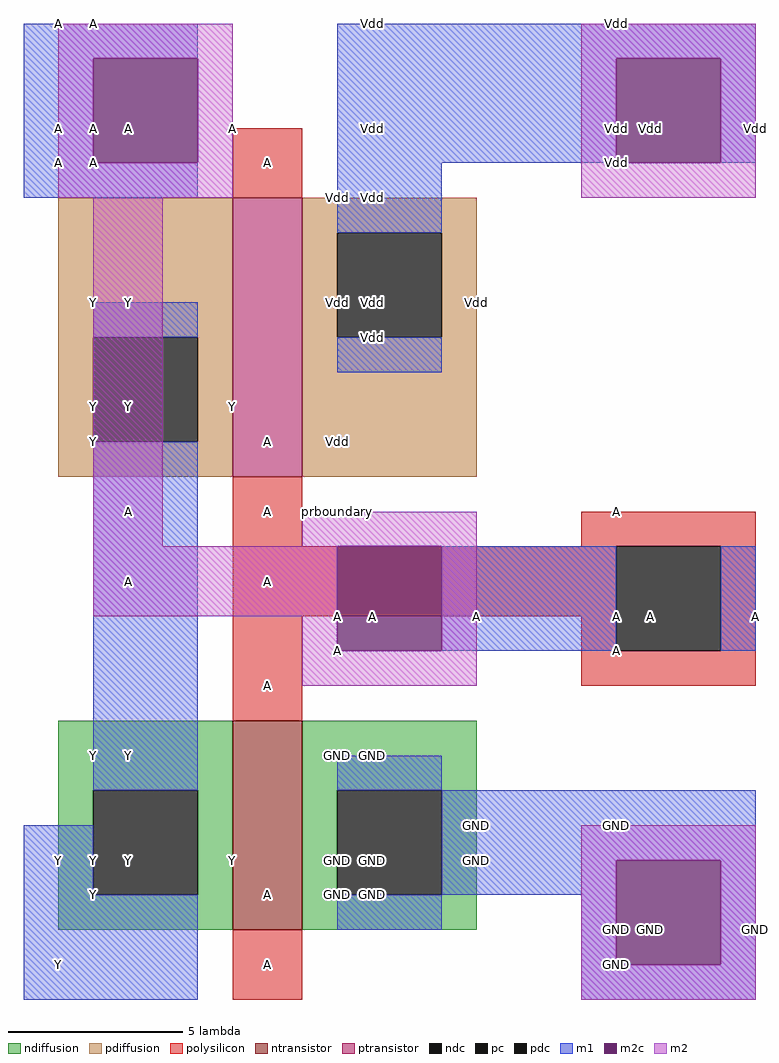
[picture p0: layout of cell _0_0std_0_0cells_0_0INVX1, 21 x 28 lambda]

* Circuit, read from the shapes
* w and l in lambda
.subckt _0_0std_0_0cells_0_0INVX1 A Y
M1 GND A Y VSUBS nfet w=6 l=2
M2 Vdd A Y NWELL pfet w=8 l=2
.ends

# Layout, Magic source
magic
tech sky130l
<< ndiffusion >>
rect 8 10 13 12
rect 8 7 9 10
rect 12 7 13 10
rect 8 6 13 7
rect 15 10 20 12
rect 15 7 16 10
rect 19 7 20 10
rect 15 6 20 7
<< ndc >>
rect 9 7 12 10
rect 16 7 19 10
<< ntransistor >>
rect 13 6 15 12
<< pdiffusion >>
rect 8 23 13 27
rect 8 20 9 23
rect 12 20 13 23
rect 8 19 13 20
rect 15 26 20 27
rect 15 23 16 26
rect 19 23 20 26
rect 15 19 20 23
<< pdc >>
rect 9 20 12 23
rect 16 23 19 26
<< ptransistor >>
rect 13 19 15 27
<< polysilicon >>
rect 13 27 15 29
rect 13 17 15 19
rect 23 17 28 18
rect 13 15 24 17
rect 13 12 15 15
rect 23 14 24 15
rect 27 14 28 17
rect 23 13 28 14
rect 13 4 15 6
<< pc >>
rect 24 14 27 17
<< m1 >>
rect 7 31 12 32
rect 7 28 9 31
rect 7 27 12 28
rect 16 31 28 32
rect 16 28 24 31
rect 27 28 28 31
rect 16 26 19 28
rect 9 23 12 24
rect 16 22 19 23
rect 9 10 12 20
rect 19 14 24 17
rect 27 14 28 17
rect 7 7 9 9
rect 7 4 12 7
rect 16 10 19 11
rect 19 8 28 10
rect 19 7 24 8
rect 16 6 19 7
rect 23 5 24 7
rect 27 5 28 8
rect 23 4 28 5
<< m2c >>
rect 9 28 12 31
rect 24 28 27 31
rect 16 14 19 17
rect 24 5 27 8
<< m2 >>
rect 8 31 13 32
rect 8 28 9 31
rect 12 28 13 31
rect 8 27 13 28
rect 23 31 28 32
rect 23 28 24 31
rect 27 28 28 31
rect 23 27 28 28
rect 9 17 11 27
rect 15 17 20 18
rect 9 15 16 17
rect 15 14 16 15
rect 19 14 20 17
rect 15 13 20 14
rect 23 8 28 9
rect 23 5 24 8
rect 27 5 28 8
rect 23 4 28 5
<< labels >>
rlabel space 0 0 32 36 6 prboundary
rlabel polysilicon 24 14 24 14 3 A
rlabel polysilicon 24 15 24 15 3 A
rlabel polysilicon 24 18 24 18 3 A
rlabel pdiffusion 20 24 20 24 3 Vdd
rlabel ndiffusion 16 7 16 7 3 GND
rlabel ndiffusion 16 8 16 8 3 GND
rlabel ndiffusion 16 11 16 11 3 GND
rlabel ndiffusion 13 8 13 8 3 Y
rlabel pdiffusion 16 20 16 20 3 Vdd
rlabel pdiffusion 16 24 16 24 3 Vdd
rlabel pdiffusion 16 27 16 27 3 Vdd
rlabel pdiffusion 13 21 13 21 3 Y
rlabel polysilicon 14 5 14 5 3 A
rlabel ntransistor 14 7 14 7 3 A
rlabel polysilicon 14 13 14 13 3 A
rlabel polysilicon 14 16 14 16 3 A
rlabel polysilicon 14 18 14 18 3 A
rlabel ptransistor 14 20 14 20 3 A
rlabel polysilicon 14 28 14 28 3 A
rlabel ndiffusion 9 7 9 7 3 Y
rlabel ndiffusion 9 8 9 8 3 Y
rlabel ndiffusion 9 11 9 11 3 Y
rlabel pdiffusion 9 20 9 20 3 Y
rlabel pdiffusion 9 21 9 21 3 Y
rlabel pdiffusion 9 24 9 24 3 Y
rlabel m1 28 15 28 15 3 A
port 1 e
rlabel pc 25 15 25 15 3 A
port 1 e
rlabel m1 20 8 20 8 3 GND
rlabel m1 20 9 20 9 3 GND
rlabel ndc 17 8 17 8 3 GND
rlabel m1 17 11 17 11 3 GND
rlabel m1 17 23 17 23 3 Vdd
rlabel pdc 17 24 17 24 3 Vdd
rlabel m1 17 27 17 27 3 Vdd
rlabel m1 17 29 17 29 3 Vdd
rlabel m1 17 32 17 32 3 Vdd
rlabel m1 17 7 17 7 3 GND
rlabel ndc 10 8 10 8 3 Y
port 2 e
rlabel m1 10 11 10 11 3 Y
port 2 e
rlabel pdc 10 21 10 21 3 Y
port 2 e
rlabel m1 10 24 10 24 3 Y
port 2 e
rlabel m1 8 5 8 5 3 Y
port 2 e
rlabel m1 8 8 8 8 3 Y
port 2 e
rlabel m1 8 28 8 28 3 A
port 1 e
rlabel m1 8 29 8 29 3 A
port 1 e
rlabel m1 8 32 8 32 3 A
port 1 e
rlabel m2 28 6 28 6 3 GND
rlabel m2 28 29 28 29 3 Vdd
rlabel m2c 25 6 25 6 3 GND
rlabel m2 24 28 24 28 3 Vdd
rlabel m2c 25 29 25 29 3 Vdd
rlabel m2 24 5 24 5 3 GND
rlabel m2 24 6 24 6 3 GND
rlabel m2 24 9 24 9 3 GND
rlabel m2 20 15 20 15 3 A
port 1 e
rlabel m2 24 29 24 29 3 Vdd
rlabel m2c 17 15 17 15 3 A
port 1 e
rlabel m2 16 18 16 18 3 A
port 1 e
rlabel m2 16 14 16 14 3 A
port 1 e
rlabel m2 16 15 16 15 3 A
port 1 e
rlabel m2 13 29 13 29 3 A
port 1 e
rlabel m2 24 32 24 32 3 Vdd
rlabel m2 10 16 10 16 3 A
port 1 e
rlabel m2 10 18 10 18 3 A
port 1 e
rlabel m2c 10 29 10 29 3 A
port 1 e
rlabel m2 9 28 9 28 3 A
port 1 e
rlabel m2 9 29 9 29 3 A
port 1 e
rlabel m2 9 32 9 32 3 A
port 1 e
<< end >>
